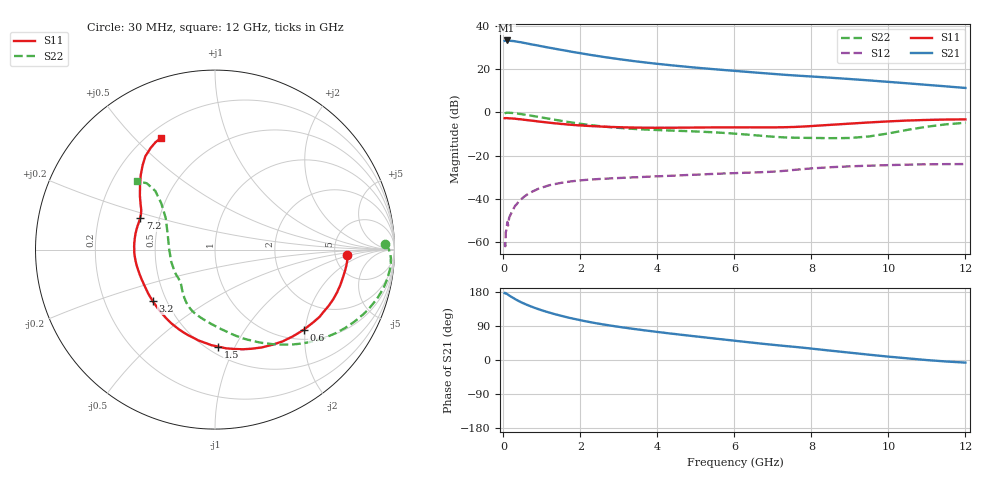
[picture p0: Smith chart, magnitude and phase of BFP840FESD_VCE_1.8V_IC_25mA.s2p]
! Infineon Technologies  Discrete & RF Semiconductors
! BFP840FESD
! VCE =  1.8 V,  IC =  25 mA
! Common Emitter S-Parameters:  May 2012
# GHz  S  MA  R  50
!  f  S11  S21  S12  S22
! GHz  MAG  ANG  MAG  ANG  MAG  ANG  MAG  ANG
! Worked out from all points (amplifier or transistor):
!   103 points, 30 MHz to 12 GHz, reference 50 ohm
!   highest |S21| = 33.3 dB at 80 MHz (marker M1)
!   |S21| within 3 dB of that: start of sweep to 1.082 GHz
!   unconditionally stable (mu >= 1): 5.629 GHz to end of sweep
!   at 400 MHz: K = 0.17, MSG = 36.9 dB, |S12| = -41.1 dB
!   at 3.7 GHz: K = 0.78, MSG = 26.5 dB, |S12| = -29.8 dB
!   at 12 GHz: K = 1.08, MAG = 15.8 dB, |S12| = -23.9 dB
!   S11 on the Smith chart (normalised r, x): 30 MHz: 6.43, -0.86; 600 MHz: 1.22, -1.96; 1.5 GHz: 0.56, -0.86; 3.2 GHz: 0.42, -0.30; 7.2 GHz: 0.39, +0.17; 12 GHz: 0.25, +0.60
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0.03  0.735 -2.4  45.37 176.6  0.001 78.4  0.9489 1.9
0.04  0.7344 -3.2  45.6 176.0  0.0008 114.3  0.9589 1.1
0.05  0.7352 -3.9  45.88 176.9  0.0008 102.1  0.967 0.3
0.08  0.7373 -6.4  46.36 174.9  0.0021 85.4  0.9783 -2.0
0.2  0.7257 -15.7  45.32 167.0  0.0046 80.9  0.9747 -9.4
0.35  0.7064 -26.4  43.49 158.1  0.0076 77.4  0.9434 -16.9
0.45  0.6926 -32.7  42.26 152.9  0.0096 73.9  0.917 -21.3
0.6  0.6659 -42.2  39.71 146.0  0.0123 69.0  0.874 -27.4
0.8  0.635 -53.7  36.7 138.1  0.0154 64.1  0.8179 -34.7
1  0.6043 -64.4  33.89 131.0  0.0182 59.4  0.7622 -41.4
1.3  0.5639 -79.1  30.23 121.9  0.0216 53.6  0.6854 -50.4
1.5  0.5413 -88.0  28.08 116.7  0.0234 50.5  0.6392 -55.9
1.8  0.5143 -100.4  25.15 109.3  0.0256 46.4  0.5795 -63.6
2.1  0.4931 -111.1  22.71 102.9  0.0272 43.2  0.5312 -70.5
2.6  0.4682 -126.1  19.27 93.7  0.0291 39.9  0.4713 -80.3
3.2  0.4498 -140.6  16.22 84.6  0.0308 37.9  0.4249 -90.0
4.1  0.4411 -157.9  13.05 72.8  0.0334 37.0  0.3879 -101.6
6.1  0.4507 173.5  9.019 49.8  0.0396 37.0  0.318 -122.6
7.2  0.4528 157.0  7.558 38.1  0.0437 39.8  0.267 -135.8
8.5  0.5161 144.2  6.36 24.6  0.0539 36.8  0.2533 -164.2
10.5  0.649 126.7  4.714 4.3  0.0618 28.7  0.3956 139.2
12  0.6909 115.9  3.684 -6.9  0.0637 25.5  0.575 138.7
